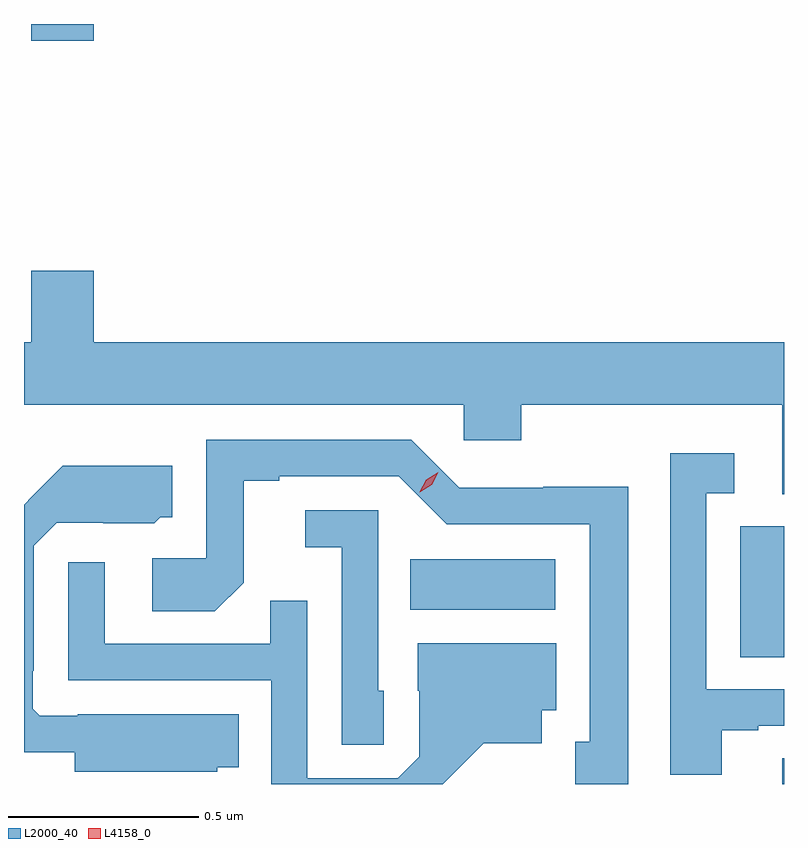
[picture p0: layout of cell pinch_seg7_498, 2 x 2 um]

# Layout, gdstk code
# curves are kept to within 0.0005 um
import gdstk
lib = gdstk.Library(unit=1e-6, precision=1e-09)
def R(c, l, rs):  # rectangles x0, y0, x1, y1
    for r in rs: c.add(gdstk.rectangle(r[:2], r[2:], *l))
def P(c, l, *ps):  # polygons
    for p in ps: c.add(gdstk.Polygon(p, *l))
L2000_40 = (2000, 40)
L4158_0 = (4158, 0)

pinch_seg7_498 = lib.new_cell('pinch_seg7_498')
R(pinch_seg7_498, L2000_40, [(178.973,1074.21,178.977,1074.278), (178.862,1074.544,178.977,1074.888), (177.994,1074.668,178.375,1074.802), (176.996,1076.166,177.16,1076.21)])
P(pinch_seg7_498, L2000_40, [(178.977,1075.372),(177.16,1075.372),(177.16,1075.561),(176.996,1075.561),(176.996,1075.372),(176.977,1075.372),(176.977,1075.208),(178.134,1075.208),(178.134,1075.115),(178.286,1075.115),(178.286,1075.208),(178.973,1075.208),(178.973,1074.973),(178.977,1074.973)],
  [(178.567,1074.992),(178.344,1074.992),(178.344,1074.99),(178.122,1074.99),(177.996,1075.116),(177.456,1075.116),(177.456,1074.804),(177.315,1074.804),(177.315,1074.664),(177.479,1074.664),(177.555,1074.74),(177.555,1075.008),(177.649,1075.008),(177.649,1075.02),(177.963,1075.02),(178.089,1074.894),(178.466,1074.894),(178.466,1074.321),(178.427,1074.321),(178.427,1074.21),(178.567,1074.21)],
  [(178.813,1074.351),(178.909,1074.351),(178.909,1074.363),(178.977,1074.363),(178.977,1074.459),(178.773,1074.459),(178.773,1074.975),(178.846,1074.975),(178.846,1075.081),(178.677,1075.081),(178.677,1074.234),(178.813,1074.234)],
  [(177.486,1074.254),(177.542,1074.254),(177.542,1074.394),(177.118,1074.394),(177.118,1074.39),(177.018,1074.39),(177,1074.408),(177,1074.508),(177.003,1074.508),(177.003,1074.837),(177.063,1074.897),(177.186,1074.897),(177.186,1074.896),(177.32,1074.896),(177.336,1074.912),(177.367,1074.912),(177.367,1075.048),(177.079,1075.048),(176.977,1074.945),(176.977,1074.293),(177.11,1074.293),(177.11,1074.242),(177.486,1074.242)],
  [(177.924,1074.456),(177.909,1074.456),(177.909,1074.93),(177.717,1074.93),(177.717,1074.833),(177.813,1074.833),(177.813,1074.313),(177.924,1074.313)],
  [(178.084,1074.215),(178.187,1074.317),(178.339,1074.317),(178.339,1074.404),(178.378,1074.404),(178.378,1074.58),(178.013,1074.58),(178.013,1074.456),(178.017,1074.456),(178.017,1074.282),(177.96,1074.225),(177.723,1074.225),(177.723,1074.692),(177.625,1074.692),(177.625,1074.579),(177.189,1074.579),(177.189,1074.793),(177.093,1074.793),(177.093,1074.483),(177.627,1074.483),(177.627,1074.21),(178.079,1074.21)])
P(pinch_seg7_498, L4158_0, [(178.018,1074.978),(178.018,1074.979),(178.035,1075.011),(178.067,1075.03),(178.067,1075.03),(178.067,1075.03),(178.05,1074.997),(178.018,1074.978)])

lib.write_gds('pinch_seg7_498.gds')
